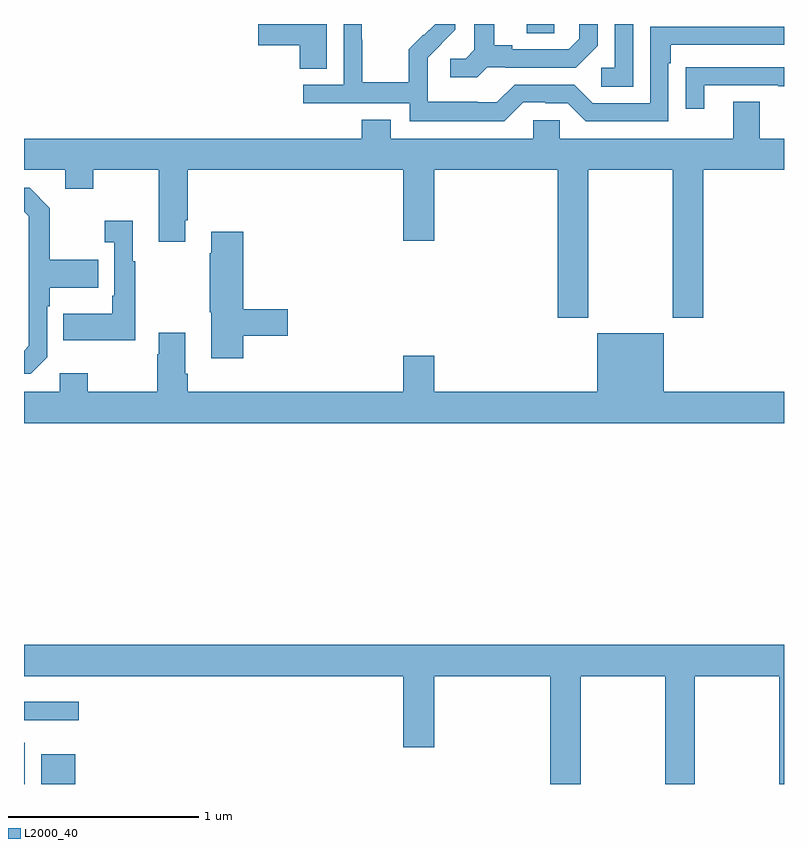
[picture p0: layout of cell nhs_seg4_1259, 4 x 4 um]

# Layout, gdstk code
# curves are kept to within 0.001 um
import gdstk
lib = gdstk.Library(unit=1e-6, precision=1e-09)
def R(c, l, rs):  # rectangles x0, y0, x1, y1
    for r in rs: c.add(gdstk.rectangle(r[:2], r[2:], *l))
def P(c, l, *ps):  # polygons
    for p in ps: c.add(gdstk.Polygon(p, *l))
L2000_40 = (2000, 40)

nhs_seg4_1259 = lib.new_cell('nhs_seg4_1259')
R(nhs_seg4_1259, L2000_40, [(175,814.9,175.003,815.116), (175.091,814.9,175.27,815.056), (175,815.235,175.288,815.332), (177.647,818.851,177.792,818.9)])
P(nhs_seg4_1259, L2000_40, [(176.593,818.9),(176.232,818.9),(176.232,818.789),(176.45,818.789),(176.45,818.665),(176.593,818.665)],
  [(177.627,818.487),(177.743,818.487),(177.743,818.484),(177.861,818.484),(177.957,818.388),(178.392,818.388),(178.392,818.693),(178.405,818.693),(178.405,818.79),(179,818.79),(179,818.886),(178.296,818.886),(178.296,818.484),(177.993,818.484),(177.897,818.58),(177.582,818.58),(177.489,818.487),(177.389,818.487),(177.389,818.491),(177.126,818.491),(177.126,818.625),(177.124,818.625),(177.124,818.722),(177.27,818.87),(177.27,818.9),(177.164,818.9),(177.105,818.841),(177.102,818.844),(177.025,818.767),(177.025,818.593),(176.781,818.593),(176.781,818.816),(176.778,818.816),(176.778,818.9),(176.682,818.9),(176.682,818.58),(176.469,818.58),(176.469,818.484),(177.03,818.484),(177.03,818.387),(177.527,818.387)],
  [(177.438,818.673),(177.532,818.673),(177.532,818.67),(177.904,818.67),(178.02,818.786),(178.02,818.9),(177.923,818.9),(177.923,818.823),(177.866,818.766),(177.571,818.766),(177.571,818.789),(177.475,818.789),(177.475,818.9),(177.371,818.9),(177.371,818.765),(177.324,818.718),(177.243,818.718),(177.243,818.621),(177.386,818.621)],
  [(178.206,818.9),(178.11,818.9),(178.11,818.67),(178.038,818.67),(178.038,818.569),(178.206,818.569)],
  [(178.579,818.577),(178.969,818.577),(178.969,818.572),(179,818.572),(179,818.673),(178.585,818.673),(178.585,818.672),(178.483,818.672),(178.483,818.454),(178.579,818.454)],
  [(177.969,818.132),(178.414,818.132),(178.414,817.353),(178.574,817.353),(178.574,818.132),(179,818.132),(179,818.296),(178.873,818.296),(178.873,818.491),(178.733,818.491),(178.733,818.296),(177.819,818.296),(177.819,818.394),(177.681,818.394),(177.681,818.296),(176.929,818.296),(176.929,818.395),(176.777,818.395),(176.777,818.296),(175,818.296),(175,818.132),(175.217,818.132),(175.217,818.033),(175.365,818.033),(175.365,818.132),(175.709,818.132),(175.709,817.755),(175.849,817.755),(175.849,817.867),(175.862,817.867),(175.862,818.132),(176.996,818.132),(176.996,817.758),(177.16,817.758),(177.16,818.132),(177.809,818.132),(177.809,817.353),(177.969,817.353)],
  [(175.122,817.146),(175.122,817.415),(175.135,817.415),(175.135,817.511),(175.391,817.511),(175.391,817.659),(175.135,817.659),(175.135,817.931),(175.029,818.037),(175,818.037),(175,817.913),(175.026,817.887),(175.026,817.206),(175,817.18),(175,817.059),(175.035,817.059)],
  [(175.585,817.651),(175.573,817.651),(175.573,817.864),(175.425,817.864),(175.425,817.751),(175.476,817.751),(175.476,817.471),(175.464,817.471),(175.464,817.375),(175.207,817.375),(175.207,817.235),(175.585,817.235)],
  [(176.153,817.258),(176.389,817.258),(176.389,817.4),(176.153,817.4),(176.153,817.807),(175.985,817.807),(175.985,817.694),(175.978,817.694),(175.978,817.383),(175.985,817.383),(175.985,817.14),(176.153,817.14)],
  [(179,816.964),(178.366,816.964),(178.366,817.273),(178.016,817.273),(178.016,816.964),(177.16,816.964),(177.16,817.153),(176.996,817.153),(176.996,816.964),(175.862,816.964),(175.862,817.06),(175.849,817.06),(175.849,817.276),(175.709,817.276),(175.709,817.163),(175.702,817.163),(175.702,816.964),(175.335,816.964),(175.335,817.063),(175.188,817.063),(175.188,816.964),(175,816.964),(175,816.8),(179,816.8)],
  [(177.93,815.468),(178.375,815.468),(178.375,814.9),(178.53,814.9),(178.53,815.468),(178.975,815.468),(178.975,814.9),(179,814.9),(179,815.632),(175,815.632),(175,815.468),(176.996,815.468),(176.996,815.094),(177.16,815.094),(177.16,815.468),(177.77,815.468),(177.77,814.9),(177.93,814.9)])

lib.write_gds('nhs_seg4_1259.gds')
